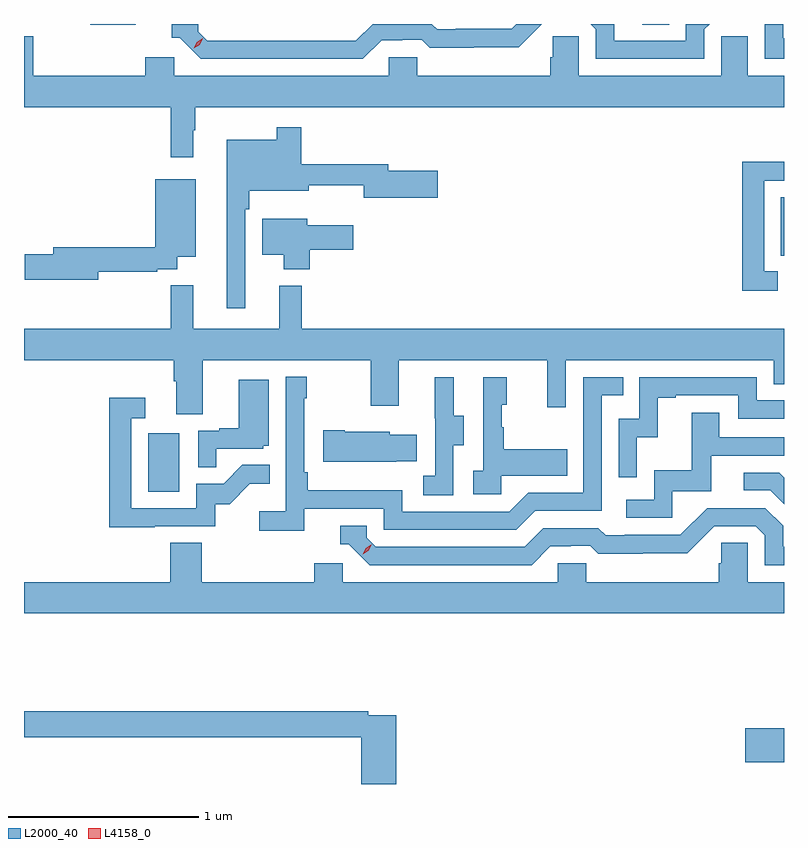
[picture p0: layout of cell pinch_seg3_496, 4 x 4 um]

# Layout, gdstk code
import gdstk
lib = gdstk.Library(unit=1e-6, precision=1e-09)
def R(c, l, rs):  # rectangles x0, y0, x1, y1
    for r in rs: c.add(gdstk.rectangle(r[:2], r[2:], *l))
def P(c, l, *ps):  # polygons
    for p in ps: c.add(gdstk.Polygon(p, *l))
L2000_40 = (2000, 40)
L4158_0 = (4158, 0)

pinch_seg3_496 = lib.new_cell('pinch_seg3_496')
R(pinch_seg3_496, L2000_40, [(1001.406,684.148,1001.61,684.326), (998.264,685.572,998.428,685.879), (1001.594,686.814,1001.61,687.121), (997.959,688.03,998.198,688.033), (1000.865,688.03,1001.005,688.033)])
P(pinch_seg3_496, L2000_40, [(999.493,687.948),(999.6,687.948),(999.6,687.951),(999.703,687.951),(999.745,687.909),(999.978,687.909),(999.978,687.911),(1000.214,687.911),(1000.336,688.033),(1000.201,688.033),(1000.176,688.008),(999.883,688.008),(999.883,688.005),(999.784,688.005),(999.756,688.033),(999.445,688.033),(999.357,687.945),(998.574,687.945),(998.526,687.993),(998.526,688.033),(998.387,688.033),(998.387,687.96),(998.43,687.96),(998.541,687.849),(999.394,687.849)],
  [(1001.19,688.005),(1001.218,688.033),(1001.094,688.033),(1001.094,687.945),(1000.717,687.945),(1000.717,688.033),(1000.592,688.033),(1000.62,688.005),(1000.62,687.849),(1001.19,687.849)],
  [(1001.61,687.958),(1001.605,687.958),(1001.605,688.033),(1001.508,688.033),(1001.508,687.849),(1001.61,687.849)],
  [(998.5,687.473),(998.512,687.473),(998.512,687.596),(1001.61,687.596),(1001.61,687.76),(1001.419,687.76),(1001.419,687.968),(1001.28,687.968),(1001.28,687.76),(1000.53,687.76),(1000.53,687.968),(1000.393,687.968),(1000.393,687.858),(1000.379,687.858),(1000.379,687.76),(999.681,687.76),(999.681,687.858),(999.531,687.858),(999.531,687.76),(998.4,687.76),(998.4,687.858),(998.249,687.858),(998.249,687.76),(997.658,687.76),(997.658,687.968),(997.61,687.968),(997.61,687.596),(998.383,687.596),(998.383,687.333),(998.5,687.333)],
  [(998.775,687.059),(998.795,687.059),(998.795,687.155),(999.108,687.155),(999.108,687.185),(999.398,687.185),(999.398,687.119),(999.787,687.119),(999.787,687.261),(999.526,687.261),(999.526,687.295),(999.068,687.295),(999.068,687.49),(998.94,687.49),(998.94,687.424),(998.678,687.424),(998.678,686.538),(998.775,686.538)],
  [(1001.578,686.733),(1001.505,686.733),(1001.505,687.207),(1001.61,687.207),(1001.61,687.308),(1001.389,687.308),(1001.389,686.628),(1001.578,686.628)],
  [(998.002,686.73),(998.312,686.73),(998.312,686.742),(998.416,686.742),(998.416,686.807),(998.515,686.807),(998.515,687.217),(998.3,687.217),(998.3,686.858),(997.763,686.858),(997.763,686.822),(997.614,686.822),(997.614,686.687),(998.002,686.687)],
  [(999.113,686.845),(999.343,686.845),(999.343,686.974),(999.1,686.974),(999.1,687.007),(998.864,687.007),(998.864,686.819),(998.978,686.819),(998.978,686.741),(999.113,686.741)],
  [(998.551,686.264),(999.436,686.264),(999.436,686.025),(999.583,686.025),(999.583,686.264),(1000.364,686.264),(1000.364,686.016),(1000.461,686.016),(1000.461,686.264),(1001.556,686.264),(1001.556,686.137),(1001.61,686.137),(1001.61,686.428),(999.071,686.428),(999.071,686.656),(998.954,686.656),(998.954,686.428),(998.501,686.428),(998.501,686.657),(998.383,686.657),(998.383,686.428),(997.61,686.428),(997.61,686.264),(998.399,686.264),(998.399,686.152),(998.411,686.152),(998.411,685.978),(998.551,685.978)],
  [(999.086,685.482),(999.504,685.482),(999.504,685.371),(1000.201,685.371),(1000.3,685.47),(1000.65,685.47),(1000.65,686.079),(1000.763,686.079),(1000.763,686.175),(1000.554,686.175),(1000.554,685.566),(1000.263,685.566),(1000.164,685.467),(999.6,685.467),(999.6,685.579),(999.104,685.579),(999.104,685.675),(999.084,685.675),(999.084,686.063),(999.097,686.063),(999.097,686.176),(998.988,686.176),(998.988,685.468),(998.847,685.468),(998.847,685.366),(999.086,685.366)],
  [(1000.836,685.859),(1000.946,685.859),(1000.946,686.067),(1001.041,686.067),(1001.041,686.079),(1001.37,686.079),(1001.37,685.956),(1001.61,685.956),(1001.61,686.052),(1001.466,686.052),(1001.466,686.175),(1000.848,686.175),(1000.848,685.956),(1000.74,685.956),(1000.74,685.647),(1000.836,685.647)],
  [(1000.122,685.655),(1000.469,685.655),(1000.469,685.795),(1000.135,685.795),(1000.135,685.91),(1000.125,685.91),(1000.125,686.028),(1000.15,686.028),(1000.15,686.173),(1000.026,686.173),(1000.026,685.682),(999.975,685.682),(999.975,685.557),(1000.122,685.557)],
  [(999.87,685.816),(999.925,685.816),(999.925,685.971),(999.871,685.971),(999.871,686.173),(999.773,686.173),(999.773,685.959),(999.774,685.959),(999.774,685.655),(999.711,685.655),(999.711,685.552),(999.87,685.552)],
  [(998.621,685.797),(998.868,685.797),(998.868,685.812),(998.899,685.812),(998.899,686.161),(998.741,686.161),(998.741,685.906),(998.637,685.906),(998.637,685.893),(998.526,685.893),(998.526,685.699),(998.621,685.699)],
  [(998.297,685.389),(998.616,685.389),(998.616,685.506),(998.692,685.506),(998.799,685.613),(998.903,685.613),(998.903,685.712),(998.759,685.712),(998.661,685.614),(998.517,685.614),(998.517,685.485),(998.175,685.485),(998.175,685.959),(998.248,685.959),(998.248,686.065),(998.059,686.065),(998.059,685.384),(998.297,685.384)],
  [(1001.022,685.575),(1001.227,685.575),(1001.227,685.761),(1001.61,685.761),(1001.61,685.857),(1001.269,685.857),(1001.269,685.987),(1001.125,685.987),(1001.125,685.684),(1000.926,685.684),(1000.926,685.53),(1000.779,685.53),(1000.779,685.434),(1001.022,685.434)],
  [(999.569,685.733),(999.677,685.733),(999.677,685.87),(999.534,685.87),(999.534,685.888),(999.298,685.888),(999.298,685.896),(999.186,685.896),(999.186,685.73),(999.569,685.73)],
  [(1001.61,685.645),(1001.584,685.671),(1001.397,685.671),(1001.397,685.578),(1001.538,685.578),(1001.61,685.506)],
  [(1000.381,685.284),(1000.488,685.284),(1000.488,685.287),(1000.591,685.287),(1000.633,685.245),(1000.866,685.245),(1000.866,685.247),(1001.102,685.247),(1001.244,685.389),(1001.46,685.389),(1001.508,685.341),(1001.508,685.185),(1001.61,685.185),(1001.61,685.281),(1001.605,685.281),(1001.605,685.391),(1001.511,685.485),(1001.205,685.485),(1001.064,685.344),(1000.771,685.344),(1000.771,685.341),(1000.672,685.341),(1000.633,685.38),(1000.344,685.38),(1000.245,685.281),(999.462,685.281),(999.414,685.329),(999.414,685.392),(999.275,685.392),(999.275,685.296),(999.318,685.296),(999.429,685.185),(1000.282,685.185)],
  [(1001.61,685.096),(1001.418,685.096),(1001.418,685.304),(1001.281,685.304),(1001.281,685.194),(1001.267,685.194),(1001.267,685.096),(1000.569,685.096),(1000.569,685.194),(1000.419,685.194),(1000.419,685.096),(999.288,685.096),(999.288,685.194),(999.137,685.194),(999.137,685.096),(998.546,685.096),(998.546,685.304),(998.381,685.304),(998.381,685.096),(997.61,685.096),(997.61,684.932),(1001.61,684.932)],
  [(999.569,684.396),(999.422,684.396),(999.422,684.416),(997.61,684.416),(997.61,684.28),(999.386,684.28),(999.386,684.033),(999.569,684.033)])
P(pinch_seg3_496, L4158_0, [(998.504,687.906),(998.504,687.906),(998.52,687.938),(998.551,687.958),(998.551,687.958),(998.551,687.957),(998.535,687.925),(998.504,687.906)],
  [(999.392,685.242),(999.392,685.243),(999.408,685.275),(999.439,685.294),(999.439,685.294),(999.439,685.294),(999.423,685.261),(999.392,685.242)])

lib.write_gds('pinch_seg3_496.gds')
